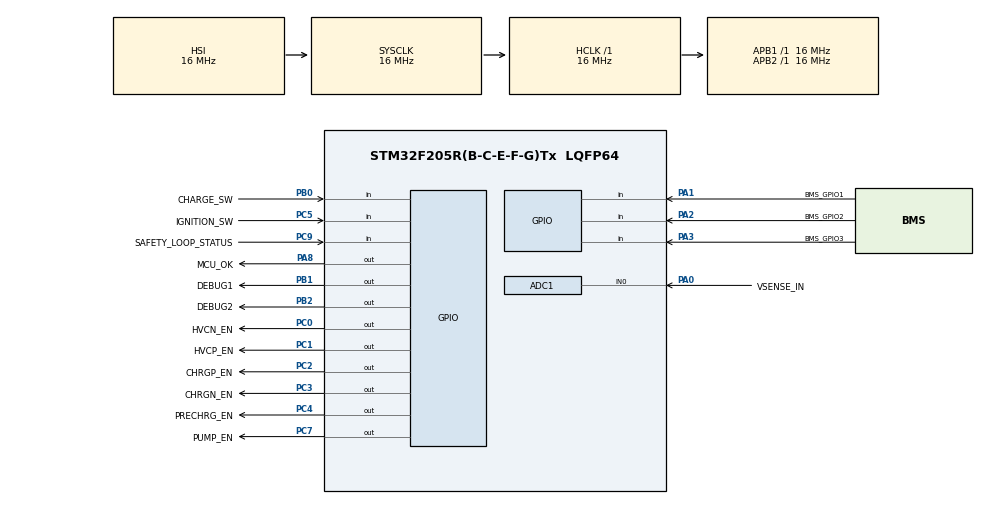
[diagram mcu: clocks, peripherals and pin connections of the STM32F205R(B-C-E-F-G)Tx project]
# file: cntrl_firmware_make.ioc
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ADC1.Channel-0\#ChannelRegularConversion=ADC_CHANNEL_0
ADC1.NbrOfConversionFlag=1
ADC1.Rank-0\#ChannelRegularConversion=1
ADC1.SamplingTime-0\#ChannelRegularConversion=ADC_SAMPLETIME_3CYCLES
ADC1.master=1
Mcu.Family=STM32F2
Mcu.Name=STM32F205R(B-C-E-F-G)Tx
Mcu.Package=LQFP64
NVIC.PriorityGroup=NVIC_PRIORITYGROUP_4
PA0-WKUP.GPIO_Label=VSENSE_IN
PA0-WKUP.Signal=ADCx_IN0
PA1.GPIO_Label=BMS_GPIO1
PA1.GPIO_PuPd=GPIO_PULLDOWN
PA1.Signal=GPIO_Input
PA2.GPIO_Label=BMS_GPIO2
PA2.GPIO_PuPd=GPIO_PULLDOWN
PA2.Signal=GPIO_Input
PA3.GPIO_Label=BMS_GPIO3
PA3.GPIO_PuPd=GPIO_PULLDOWN
PA3.Signal=GPIO_Input
PA8.GPIO_Label=MCU_OK
PA8.Signal=GPIO_Output
PB0.GPIO_Label=CHARGE_SW
PB0.GPIO_PuPd=GPIO_PULLDOWN
PB0.Signal=GPIO_Input
PB1.GPIO_Label=DEBUG1
PB1.Signal=GPIO_Output
PB2.GPIO_Label=DEBUG2
PB2.Signal=GPIO_Output
PC0.GPIO_Label=HVCN_EN
PC0.Signal=GPIO_Output
PC1.GPIO_Label=HVCP_EN
PC1.Signal=GPIO_Output
PC2.GPIO_Label=CHRGP_EN
PC2.Signal=GPIO_Output
PC3.GPIO_Label=CHRGN_EN
PC3.Signal=GPIO_Output
PC4.GPIO_Label=PRECHRG_EN
PC4.Signal=GPIO_Output
PC5.GPIO_Label=IGNITION_SW
PC5.GPIO_PuPd=GPIO_PULLDOWN
PC5.Signal=GPIO_Input
PC7.GPIO_Label=PUMP_EN
PC7.Signal=GPIO_Output
PC9.GPIO_Label=SAFETY_LOOP_STATUS
PC9.Signal=GPIO_Input
ProjectManager.HeapSize=0x200
ProjectManager.StackSize=0x400
ProjectManager.TargetToolchain=Makefile
RCC.48MHZClocksFreq_Value=48000000
RCC.AHBFreq_Value=16000000
RCC.APB1Freq_Value=16000000
RCC.APB2Freq_Value=16000000
RCC.CortexFreq_Value=16000000
RCC.HSE_VALUE=25000000
RCC.HSI_VALUE=16000000
RCC.LSE_VALUE=32768
RCC.SYSCLKFreq_VALUE=16000000
RCC.VCOOutputFreq_Value=192000000
SH.ADCx_IN0.0=ADC1_IN0,IN0
board=custom

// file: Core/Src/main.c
/* USER CODE BEGIN Header */
/**
 ******************************************************************************
 * @file           : main.c
 * @brief          : Main program body
 ******************************************************************************
 * @attention
 *
 * Copyright (c) 2024 STMicroelectronics.
 * All rights reserved.
 *
 * This software is licensed under terms that can be found in the LICENSE file
 * in the root directory of this software component.
 * If no LICENSE file comes with this software, it is provided AS-IS.
 *
 ******************************************************************************
 */
/* USER CODE END Header */
#include "main.h"

/* USER CODE BEGIN PD */
// using constants to represent state as int
#define STARTUP 0
#define OPERATION 1
#define CHARGING 2
#define ERROR 3
/* USER CODE END PD */

ADC_HandleTypeDef hadc1;

void SystemClock_Config(void);
static void MX_GPIO_Init(void);
static void MX_ADC1_Init(void);

/* USER CODE BEGIN 0 */

/**
 * @brief   Error handler for error detection in operational logic. Currently implemented as a while(1) loop.
 * @param   None
 * @author  Peter Woolsey
 */
void internal_error_handler(void)
{
  HAL_GPIO_WritePin(DEBUG1_GPIO_Port, DEBUG1_Pin, GPIO_PIN_RESET);
  HAL_GPIO_WritePin(DEBUG2_GPIO_Port, DEBUG2_Pin, GPIO_PIN_RESET);
  HAL_GPIO_WritePin(MCU_OK_GPIO_Port, MCU_OK_Pin, GPIO_PIN_RESET);
  // should also close all relays
  // comms over canbus of what the error was?
  while (1)
  { // freeze everything off
    HAL_Delay(500);
  }
  return;
}

/**
 * @brief Handles the state transition from OPERATION to STARTUP
 * @param  None
 * @author Peter Woolsey
 */
void discharge_handler(void)
{
  /*
   Insert code for toggling relays and checking that aux opened
  */

  // actually discharge the board
  HAL_GPIO_WritePin(MCU_OK_GPIO_Port, MCU_OK_Pin, GPIO_PIN_RESET);
  int i = 0;
  while (i < 5)
  { // replace w/ vsense code (break? on undervoltage)
    i++;
    HAL_Delay(500);
  }
  HAL_GPIO_WritePin(MCU_OK_GPIO_Port, MCU_OK_Pin, GPIO_PIN_SET);

  // LED demo code
  HAL_GPIO_WritePin(DEBUG1_GPIO_Port, DEBUG1_Pin, GPIO_PIN_RESET);
  return;
}

/**
 * @brief   Handles the change of state from STARTUP to OPERATION
 * @param   None
 * @author  Peter Woolsey
 */
void toggle_precharge(void)
{
  /*
   Insert code for toggling relays and checking that aux closed
  */

  HAL_GPIO_WritePin(DEBUG1_GPIO_Port, DEBUG1_Pin, GPIO_PIN_SET);
  int i = 0;
  while (i < 5)
  { // replace w/ vsense code (break? on undervoltage)
    i++;
    HAL_GPIO_TogglePin(DEBUG1_GPIO_Port, DEBUG1_Pin);
    HAL_GPIO_TogglePin(DEBUG2_GPIO_Port, DEBUG2_Pin);
    HAL_Delay(500);
  }

  // LED demo code
  HAL_GPIO_WritePin(DEBUG1_GPIO_Port, DEBUG1_Pin, GPIO_PIN_SET);
  HAL_GPIO_WritePin(DEBUG2_GPIO_Port, DEBUG2_Pin, GPIO_PIN_RESET);
  return;
}

/**
 * @brief   Responsible from switching from STARTUP to CHARGING
 * @param   None
 * @author  Peter Woolsey
 */
void toggle_charging(void)
{
  HAL_GPIO_WritePin(DEBUG2_GPIO_Port, DEBUG2_Pin, GPIO_PIN_SET);
  return;
}

/**
 * @brief   Responsible from switching from CHARGING to STARTUP
 * @param   None
 * @author  Peter Woolsey
 */
void untoggle_charging(void)
{
  HAL_GPIO_WritePin(DEBUG2_GPIO_Port, DEBUG2_Pin, GPIO_PIN_RESET);
  return;
}

/**
 * @brief   Gets the switch status through a digital read of the switches' GPIO pins.
 * @param   None
 * @return  uint8-t - a status macro which fits into a uint8-t
 * @author  Peter Woolsey
 */
uint8_t get_switch_status(void)
{
  if (HAL_GPIO_ReadPin(IGNITION_SW_GPIO_Port, IGNITION_SW_Pin) == GPIO_PIN_SET)
  {
    if (HAL_GPIO_ReadPin(CHARGE_SW_GPIO_Port, CHARGE_SW_Pin) == GPIO_PIN_SET)
    {
      return ERROR;
    }
    else
    {
      return OPERATION;
    }
  }
  else
  {
    if (HAL_GPIO_ReadPin(CHARGE_SW_GPIO_Port, CHARGE_SW_Pin) == GPIO_PIN_SET)
    {
      return CHARGING;
    }
    else
    {
      return STARTUP;
    }
  }
  return ERROR;
}

/**
 * @brief   TODO - Checks to ensure that the aux contactors are in the expected position for the current state.
 * @param   current_status
 * @author  Peter Woolsey
 */
void aux_check(uint8_t)
{
  HAL_Delay(500);
  return;
  // placeholder
}
/* USER CODE END 0 */

int main(void)
{

  /* MCU Configuration--------------------------------------------------------*/

  /* Reset of all peripherals, Initializes the Flash interface and the Systick. */
  HAL_Init();

  /* Configure the system clock */
  SystemClock_Config();

  /* Initialize all configured peripherals */
  MX_GPIO_Init();
  MX_ADC1_Init();
  /* USER CODE BEGIN 2 */
  // Setup
  uint8_t status = STARTUP;
  uint8_t new_status;
  HAL_Delay(500);
  HAL_GPIO_WritePin(MCU_OK_GPIO_Port, MCU_OK_Pin, GPIO_PIN_SET);
  /* USER CODE END 2 */

  /* Infinite loop */
  /* USER CODE BEGIN WHILE */
  while (1)
  {
    new_status = get_switch_status();
    if (new_status == ERROR)
    {
      internal_error_handler();
    }

    if (new_status != status)
    { // handles change of switch state
      if (status == STARTUP)
      { // where can you go from startup:
        if (new_status == OPERATION)
        {
          toggle_precharge();
          status = OPERATION;
        }
        else if (new_status == CHARGING)
        {
          toggle_charging();
          status = CHARGING;
        }
        else
        {
          internal_error_handler(); // should never reach here
        }
      }
      else if (status == OPERATION)
      { // where can you go from operation:
        if (new_status == STARTUP)
        {
          discharge_handler();
          status = STARTUP;
        }
        else
        {
          internal_error_handler(); // should never reach here
        }
      }
      else if (status == CHARGING)
      { // where can you go from operation:
        if (new_status == STARTUP)
        {
          untoggle_charging();
          status = STARTUP;
        }
        else
        {
          internal_error_handler(); // should never reach here
        }
      }
      else
      {
        status = ERROR;
        internal_error_handler();
      }
    }

    aux_check(status); // to be implemented
    /* USER CODE END WHILE */

  }
}

void SystemClock_Config(void)
{
  RCC_OscInitTypeDef RCC_OscInitStruct = {0};
  RCC_ClkInitTypeDef RCC_ClkInitStruct = {0};

  /** Initializes the RCC Oscillators according to the specified parameters
   * in the RCC_OscInitTypeDef structure.
   */
  RCC_OscInitStruct.OscillatorType = RCC_OSCILLATORTYPE_HSI;
  RCC_OscInitStruct.HSIState = RCC_HSI_ON;
  RCC_OscInitStruct.HSICalibrationValue = RCC_HSICALIBRATION_DEFAULT;
  RCC_OscInitStruct.PLL.PLLState = RCC_PLL_NONE;
  if (HAL_RCC_OscConfig(&RCC_OscInitStruct) != HAL_OK)
  {
    Error_Handler();
  }

  /** Initializes the CPU, AHB and APB buses clocks
   */
  RCC_ClkInitStruct.ClockType = RCC_CLOCKTYPE_HCLK | RCC_CLOCKTYPE_SYSCLK | RCC_CLOCKTYPE_PCLK1 | RCC_CLOCKTYPE_PCLK2;
  RCC_ClkInitStruct.SYSCLKSource = RCC_SYSCLKSOURCE_HSI;
  RCC_ClkInitStruct.AHBCLKDivider = RCC_SYSCLK_DIV1;
  RCC_ClkInitStruct.APB1CLKDivider = RCC_HCLK_DIV1;
  RCC_ClkInitStruct.APB2CLKDivider = RCC_HCLK_DIV1;

  if (HAL_RCC_ClockConfig(&RCC_ClkInitStruct, FLASH_LATENCY_0) != HAL_OK)
  {
    Error_Handler();
  }
}

static void MX_ADC1_Init(void)
{

  ADC_ChannelConfTypeDef sConfig = {0};

  /** Configure the global features of the ADC (Clock, Resolution, Data Alignment and number of conversion)
   */
  hadc1.Instance = ADC1;
  hadc1.Init.ClockPrescaler = ADC_CLOCK_SYNC_PCLK_DIV2;
  hadc1.Init.Resolution = ADC_RESOLUTION_12B;
  hadc1.Init.ScanConvMode = DISABLE;
  hadc1.Init.ContinuousConvMode = DISABLE;
  hadc1.Init.DiscontinuousConvMode = DISABLE;
  hadc1.Init.ExternalTrigConvEdge = ADC_EXTERNALTRIGCONVEDGE_NONE;
  hadc1.Init.ExternalTrigConv = ADC_SOFTWARE_START;
  hadc1.Init.DataAlign = ADC_DATAALIGN_RIGHT;
  hadc1.Init.NbrOfConversion = 1;
  hadc1.Init.DMAContinuousRequests = DISABLE;
  hadc1.Init.EOCSelection = ADC_EOC_SINGLE_CONV;
  if (HAL_ADC_Init(&hadc1) != HAL_OK)
  {
    Error_Handler();
  }

  /** Configure for the selected ADC regular channel its corresponding rank in the sequencer and its sample time.
   */
  sConfig.Channel = ADC_CHANNEL_0;
  sConfig.Rank = 1;
  sConfig.SamplingTime = ADC_SAMPLETIME_3CYCLES;
  if (HAL_ADC_ConfigChannel(&hadc1, &sConfig) != HAL_OK)
  {
    Error_Handler();
  }
}

static void MX_GPIO_Init(void)
{
  GPIO_InitTypeDef GPIO_InitStruct = {0};

  /* GPIO Ports Clock Enable */
  __HAL_RCC_GPIOC_CLK_ENABLE();
  __HAL_RCC_GPIOA_CLK_ENABLE();
  __HAL_RCC_GPIOB_CLK_ENABLE();

  /*Configure GPIO pin Output Level */
  HAL_GPIO_WritePin(GPIOC, HVCN_EN_Pin | HVCP_EN_Pin | CHRGP_EN_Pin | CHRGN_EN_Pin | PRECHRG_EN_Pin | PUMP_EN_Pin, GPIO_PIN_RESET);

  /*Configure GPIO pin Output Level */
  HAL_GPIO_WritePin(GPIOB, DEBUG1_Pin | DEBUG2_Pin, GPIO_PIN_RESET);

  /*Configure GPIO pin Output Level */
  HAL_GPIO_WritePin(MCU_OK_GPIO_Port, MCU_OK_Pin, GPIO_PIN_RESET);

  /*Configure GPIO pins : HVCN_EN_Pin HVCP_EN_Pin CHRGP_EN_Pin CHRGN_EN_Pin
                           PRECHRG_EN_Pin PUMP_EN_Pin */
  GPIO_InitStruct.Pin = HVCN_EN_Pin | HVCP_EN_Pin | CHRGP_EN_Pin | CHRGN_EN_Pin | PRECHRG_EN_Pin | PUMP_EN_Pin;
  GPIO_InitStruct.Mode = GPIO_MODE_OUTPUT_PP;
  GPIO_InitStruct.Pull = GPIO_NOPULL;
  GPIO_InitStruct.Speed = GPIO_SPEED_FREQ_LOW;
  HAL_GPIO_Init(GPIOC, &GPIO_InitStruct);

  /*Configure GPIO pins : BMS_GPIO1_Pin BMS_GPIO2_Pin BMS_GPIO3_Pin */
  GPIO_InitStruct.Pin = BMS_GPIO1_Pin | BMS_GPIO2_Pin | BMS_GPIO3_Pin;
  GPIO_InitStruct.Mode = GPIO_MODE_INPUT;
  GPIO_InitStruct.Pull = GPIO_PULLDOWN;
  HAL_GPIO_Init(GPIOA, &GPIO_InitStruct);

  /*Configure GPIO pin : IGNITION_SW_Pin */
  GPIO_InitStruct.Pin = IGNITION_SW_Pin;
  GPIO_InitStruct.Mode = GPIO_MODE_INPUT;
  GPIO_InitStruct.Pull = GPIO_PULLDOWN;
  HAL_GPIO_Init(IGNITION_SW_GPIO_Port, &GPIO_InitStruct);

  /*Configure GPIO pin : CHARGE_SW_Pin */
  GPIO_InitStruct.Pin = CHARGE_SW_Pin;
  GPIO_InitStruct.Mode = GPIO_MODE_INPUT;
  GPIO_InitStruct.Pull = GPIO_PULLDOWN;
  HAL_GPIO_Init(CHARGE_SW_GPIO_Port, &GPIO_InitStruct);

  /*Configure GPIO pins : DEBUG1_Pin DEBUG2_Pin */
  GPIO_InitStruct.Pin = DEBUG1_Pin | DEBUG2_Pin;
  GPIO_InitStruct.Mode = GPIO_MODE_OUTPUT_PP;
  GPIO_InitStruct.Pull = GPIO_NOPULL;
  GPIO_InitStruct.Speed = GPIO_SPEED_FREQ_LOW;
  HAL_GPIO_Init(GPIOB, &GPIO_InitStruct);

  /*Configure GPIO pin : SAFETY_LOOP_STATUS_Pin */
  GPIO_InitStruct.Pin = SAFETY_LOOP_STATUS_Pin;
  GPIO_InitStruct.Mode = GPIO_MODE_INPUT;
  GPIO_InitStruct.Pull = GPIO_NOPULL;
  HAL_GPIO_Init(SAFETY_LOOP_STATUS_GPIO_Port, &GPIO_InitStruct);

  /*Configure GPIO pin : MCU_OK_Pin */
  GPIO_InitStruct.Pin = MCU_OK_Pin;
  GPIO_InitStruct.Mode = GPIO_MODE_OUTPUT_PP;
  GPIO_InitStruct.Pull = GPIO_NOPULL;
  GPIO_InitStruct.Speed = GPIO_SPEED_FREQ_LOW;
  HAL_GPIO_Init(MCU_OK_GPIO_Port, &GPIO_InitStruct);

}

void Error_Handler(void)
{
  __disable_irq();
  while (1)
  {
  }
}
